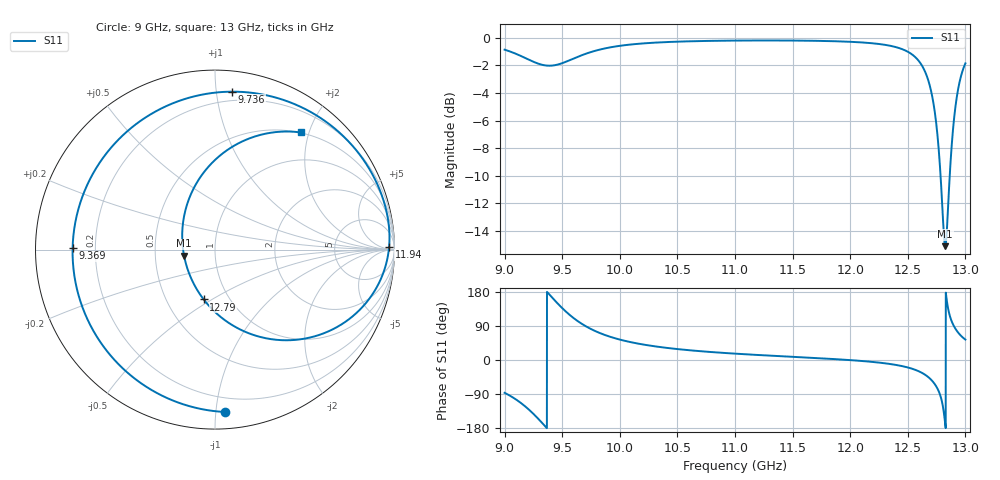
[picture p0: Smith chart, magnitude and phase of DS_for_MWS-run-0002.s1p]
! TOUCHSTONE file generated by CST DESIGN STUDIO
! Date and time: Tue Feb  4 14:02:57 2025
! Project name: C:\Work\MatlabApps\UnitCellOptimizationMatlab\CST\unitcell.cst
! Tree item: Tasks\Sweep1\SPara1\S-Parameters
! Header version: 2024
! Port assignment regex: !\s*Touchstone port\s*([0-9]+)\s*=\s*(CST MWS port|CST DES external port|CST DES block port)\s*(.+)\s* \(\"(.*)\"\)(\s*mode\s*([0-9]+))?.*
! Touchstone port assignment:
! Touchstone port 1 = CST DES external port 1 ("")
# GHz S MA R 50
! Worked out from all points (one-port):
!   4001 points, 9 GHz to 13 GHz, reference 50 ohm
!   lowest |S11| = -15.1 dB at 12.82 GHz (marker M1), VSWR 1.43, Z = 35.2 - j2.43 ohm
!   |S11| at or under -10 dB: 12.78 GHz to 12.86 GHz (79.44 MHz wide, 0.619 % of centre)
!   S11 on the Smith chart (normalised r, x): 9 GHz: 0.10, -1.06; 9.369 GHz: 0.12, +0.00; 9.736 GHz: 0.14, +1.10; 11.94 GHz: 53, +26; 12.79 GHz: 0.76, -0.46; 13 GHz: 0.50, +1.86
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9  0.9063 -86.6
9.1  0.875 -104.4
9.187  0.8425 -124.6
9.288  0.8076 -153.8
9.369  0.7934 179.4
9.431  0.7954 158.6
9.5  0.8097 137.0
9.609  0.8451 108.3
9.736  0.885 83.9
9.861  0.9141 67.1
10  0.9359 53.9
10.216  0.9559 40.2
10.5  0.969 28.8
11  0.9778 16.8
11.5  0.978 8.4
11.944  0.9701 0.9
12  0.9679 -0.3
12.315  0.9417 -9.2
12.5  0.8909 -19.7
12.616  0.8023 -32.8
12.703  0.6397 -52.2
12.75  0.4767 -71.2
12.791  0.2848 -102.8
12.825  0.1758 -169.0
12.863  0.311 118.5
12.91  0.5476 84.3
12.949  0.6906 68.0
13  0.8083 53.9
